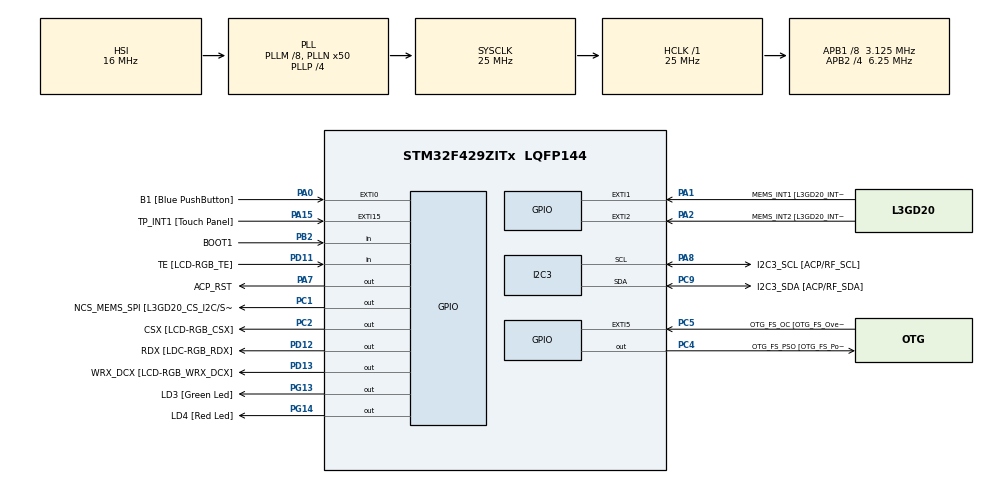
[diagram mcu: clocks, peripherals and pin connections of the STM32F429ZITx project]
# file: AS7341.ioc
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Mcu.Family=STM32F4
Mcu.Name=STM32F429ZITx
Mcu.Package=LQFP144
NVIC.PriorityGroup=NVIC_PRIORITYGROUP_0
PA0/WKUP.GPIO_Label=B1 [Blue PushButton]
PA0/WKUP.GPIO_ModeDefaultEXTI=GPIO_MODE_EVT_RISING
PA0/WKUP.GPIO_PuPd=GPIO_NOPULL
PA0/WKUP.Signal=GPXTI0
PA1.GPIO_Label=MEMS_INT1 [L3GD20_INT1]
PA1.GPIO_ModeDefaultEXTI=GPIO_MODE_EVT_RISING
PA1.GPIO_PuPd=GPIO_NOPULL
PA1.Signal=GPXTI1
PA10.GPIO_Label=STLINK_TX [STM32F103CBT6_PA2]
PA10.Signal=USART1_RX
PA11.GPIO_Label=R4
PA11.GPIO_Mode=GPIO_MODE_AF_PP
PA11.GPIO_PuPd=GPIO_NOPULL
PA11.GPIO_Speed=GPIO_SPEED_FREQ_LOW
PA11.Signal=LTDC_R4
PA12.GPIO_Label=R5
PA12.GPIO_Mode=GPIO_MODE_AF_PP
PA12.GPIO_PuPd=GPIO_NOPULL
PA12.GPIO_Speed=GPIO_SPEED_FREQ_LOW
PA12.Signal=LTDC_R5
PA13.GPIO_Label=SWDIO
PA13.Signal=SYS_JTMS-SWDIO
PA14.GPIO_Label=SWCLK
PA14.Signal=SYS_JTCK-SWCLK
PA15.GPIO_Label=TP_INT1 [Touch Panel]
PA15.GPIO_ModeDefaultEXTI=GPIO_MODE_EVT_RISING
PA15.GPIO_PuPd=GPIO_NOPULL
PA15.Signal=GPXTI15
PA2.GPIO_Label=MEMS_INT2 [L3GD20_INT2]
PA2.GPIO_ModeDefaultEXTI=GPIO_MODE_EVT_RISING
PA2.GPIO_PuPd=GPIO_NOPULL
PA2.Signal=GPXTI2
PA3.GPIO_Label=B5
PA3.GPIO_Mode=GPIO_MODE_AF_PP
PA3.GPIO_PuPd=GPIO_NOPULL
PA3.GPIO_Speed=GPIO_SPEED_FREQ_LOW
PA3.Signal=LTDC_B5
PA4.GPIO_Label=VSYNC
PA4.GPIO_Mode=GPIO_MODE_AF_PP
PA4.GPIO_PuPd=GPIO_NOPULL
PA4.GPIO_Speed=GPIO_SPEED_FREQ_LOW
PA4.Signal=LTDC_VSYNC
PA6.GPIO_Label=G2
PA6.GPIO_Mode=GPIO_MODE_AF_PP
PA6.GPIO_PuPd=GPIO_NOPULL
PA6.GPIO_Speed=GPIO_SPEED_FREQ_LOW
PA6.Signal=LTDC_G2
PA7.GPIO_Label=ACP_RST
PA7.GPIO_Mode=GPIO_MODE_OUTPUT_PP
PA7.GPIO_PuPd=GPIO_NOPULL
PA7.GPIO_Speed=GPIO_SPEED_FREQ_LOW
PA7.Signal=GPIO_Output
PA8.GPIO_Label=I2C3_SCL [ACP/RF_SCL]
PA8.GPIO_Mode=GPIO_MODE_AF_OD
PA8.GPIO_PuPd=GPIO_NOPULL
PA8.GPIO_Speed=GPIO_SPEED_FREQ_LOW
PA8.Mode=I2C
PA8.Signal=I2C3_SCL
PA9.GPIO_Label=STLINK_RX [STM32F103CBT6_PA3]
PA9.Signal=USART1_TX
PB0.GPIO_Label=R3
PB0.GPIO_Mode=GPIO_MODE_AF_PP
PB0.GPIO_PuPd=GPIO_NOPULL
PB0.GPIO_Speed=GPIO_SPEED_FREQ_LOW
PB0.Signal=LTDC_R3
PB1.GPIO_Label=R6
PB1.GPIO_Mode=GPIO_MODE_AF_PP
PB1.GPIO_PuPd=GPIO_NOPULL
PB1.GPIO_Speed=GPIO_SPEED_FREQ_LOW
PB1.Signal=LTDC_R6
PB10.GPIO_Label=G4
PB10.GPIO_Mode=GPIO_MODE_AF_PP
PB10.GPIO_PuPd=GPIO_NOPULL
PB10.GPIO_Speed=GPIO_SPEED_FREQ_LOW
PB10.Signal=LTDC_G4
PB11.GPIO_Label=G5
PB11.GPIO_Mode=GPIO_MODE_AF_PP
PB11.GPIO_PuPd=GPIO_NOPULL
PB11.GPIO_Speed=GPIO_SPEED_FREQ_LOW
PB11.Signal=LTDC_G5
PB12.GPIO_Label=OTG_HS_ID
PB12.GPIO_Mode=GPIO_MODE_AF_PP
PB12.GPIO_PuPd=GPIO_NOPULL
PB12.GPIO_Speed=GPIO_SPEED_FREQ_LOW
PB12.Signal=USB_OTG_HS_ID
PB13.GPIO_Label=VBUS_HS
PB13.GPIO_Mode=GPIO_MODE_INPUT
PB13.GPIO_PuPd=GPIO_NOPULL
PB13.Signal=USB_OTG_HS_VBUS
PB14.GPIO_Label=OTG_HS_DM
PB14.GPIO_Mode=GPIO_MODE_AF_PP
PB14.GPIO_PuPd=GPIO_NOPULL
PB14.GPIO_Speed=GPIO_SPEED_FREQ_LOW
PB14.Signal=USB_OTG_HS_DM
PB15.GPIO_Label=OTG_HS_DP
PB15.GPIO_Mode=GPIO_MODE_AF_PP
PB15.GPIO_PuPd=GPIO_NOPULL
PB15.GPIO_Speed=GPIO_SPEED_FREQ_LOW
PB15.Signal=USB_OTG_HS_DP
PB2/BOOT1.GPIO_Label=BOOT1
PB2/BOOT1.GPIO_Mode=GPIO_MODE_INPUT
PB2/BOOT1.GPIO_PuPd=GPIO_NOPULL
PB2/BOOT1.Signal=GPIO_Input
PB5.GPIO_Label=SDCKE1
PB5.GPIO_Mode=GPIO_MODE_AF_PP
PB5.GPIO_PuPd=GPIO_NOPULL
PB5.GPIO_Speed=GPIO_SPEED_FREQ_VERY_HIGH
PB5.Signal=FMC_SDCKE1
PB6.GPIO_Label=SDNE1 [SDRAM_CS]
PB6.GPIO_Mode=GPIO_MODE_AF_PP
PB6.GPIO_PuPd=GPIO_NOPULL
PB6.GPIO_Speed=GPIO_SPEED_FREQ_VERY_HIGH
PB6.Signal=FMC_SDNE1
PB8.GPIO_Label=B6
PB8.GPIO_Mode=GPIO_MODE_AF_PP
PB8.GPIO_PuPd=GPIO_NOPULL
PB8.GPIO_Speed=GPIO_SPEED_FREQ_LOW
PB8.Signal=LTDC_B6
PB9.GPIO_Label=B7
PB9.GPIO_Mode=GPIO_MODE_AF_PP
PB9.GPIO_PuPd=GPIO_NOPULL
PB9.GPIO_Speed=GPIO_SPEED_FREQ_LOW
PB9.Signal=LTDC_B7
PC0.GPIO_Label=SDNWE
PC0.GPIO_Mode=GPIO_MODE_AF_PP
PC0.GPIO_PuPd=GPIO_NOPULL
PC0.GPIO_Speed=GPIO_SPEED_FREQ_VERY_HIGH
PC0.Signal=FMC_SDNWE
PC1.GPIO_Label=NCS_MEMS_SPI [L3GD20_CS_I2C/SPI]
PC1.GPIO_Mode=GPIO_MODE_OUTPUT_PP
PC1.GPIO_PuPd=GPIO_NOPULL
PC1.GPIO_Speed=GPIO_SPEED_FREQ_LOW
PC1.Signal=GPIO_Output
PC10.GPIO_Label=R2
PC10.GPIO_Mode=GPIO_MODE_AF_PP
PC10.GPIO_PuPd=GPIO_NOPULL
PC10.GPIO_Speed=GPIO_SPEED_FREQ_LOW
PC10.Signal=LTDC_R2
PC14/OSC32_IN.GPIO_Label=PC14-OSC32_IN
PC14/OSC32_IN.Signal=RCC_OSC32_IN
PC15/OSC32_OUT.GPIO_Label=PC15-OSC32_OUT
PC15/OSC32_OUT.Signal=RCC_OSC32_OUT
PC2.GPIO_Label=CSX [LCD-RGB_CSX]
PC2.GPIO_Mode=GPIO_MODE_OUTPUT_PP
PC2.GPIO_PuPd=GPIO_NOPULL
PC2.GPIO_Speed=GPIO_SPEED_FREQ_LOW
PC2.Signal=GPIO_Output
PC4.GPIO_Label=OTG_FS_PSO [OTG_FS_PowerSwitchOn]
PC4.GPIO_Mode=GPIO_MODE_OUTPUT_PP
PC4.GPIO_PuPd=GPIO_NOPULL
PC4.GPIO_Speed=GPIO_SPEED_FREQ_LOW
PC4.Signal=GPIO_Output
PC5.GPIO_Label=OTG_FS_OC [OTG_FS_OverCurrent]
PC5.GPIO_ModeDefaultEXTI=GPIO_MODE_EVT_RISING
PC5.Signal=GPXTI5
PC6.GPIO_Label=HSYNC
PC6.GPIO_Mode=GPIO_MODE_AF_PP
PC6.GPIO_PuPd=GPIO_NOPULL
PC6.GPIO_Speed=GPIO_SPEED_FREQ_LOW
PC6.Signal=LTDC_HSYNC
PC7.GPIO_Label=G6
PC7.GPIO_Mode=GPIO_MODE_AF_PP
PC7.GPIO_PuPd=GPIO_NOPULL
PC7.GPIO_Speed=GPIO_SPEED_FREQ_LOW
PC7.Signal=LTDC_G6
PC9.GPIO_Label=I2C3_SDA [ACP/RF_SDA]
PC9.GPIO_Mode=GPIO_MODE_AF_OD
PC9.GPIO_PuPd=GPIO_NOPULL
PC9.GPIO_Speed=GPIO_SPEED_FREQ_LOW
PC9.Mode=I2C
PC9.Signal=I2C3_SDA
PD0.GPIO_Label=D2
PD0.GPIO_Mode=GPIO_MODE_AF_PP
PD0.GPIO_PuPd=GPIO_NOPULL
PD0.GPIO_Speed=GPIO_SPEED_FREQ_VERY_HIGH
PD0.Signal=FMC_D2_DA2
PD1.GPIO_Label=D3
PD1.GPIO_Mode=GPIO_MODE_AF_PP
PD1.GPIO_PuPd=GPIO_NOPULL
PD1.GPIO_Speed=GPIO_SPEED_FREQ_VERY_HIGH
PD1.Signal=FMC_D3_DA3
PD10.GPIO_Label=D15
PD10.GPIO_Mode=GPIO_MODE_AF_PP
PD10.GPIO_PuPd=GPIO_NOPULL
PD10.GPIO_Speed=GPIO_SPEED_FREQ_VERY_HIGH
PD10.Signal=FMC_D15_DA15
PD11.GPIO_Label=TE [LCD-RGB_TE]
PD11.GPIO_Mode=GPIO_MODE_INPUT
PD11.GPIO_PuPd=GPIO_NOPULL
PD11.Signal=GPIO_Input
PD12.GPIO_Label=RDX [LDC-RGB_RDX]
PD12.GPIO_Mode=GPIO_MODE_OUTPUT_PP
PD12.GPIO_PuPd=GPIO_NOPULL
PD12.GPIO_Speed=GPIO_SPEED_FREQ_LOW
PD12.Signal=GPIO_Output
PD13.GPIO_Label=WRX_DCX [LCD-RGB_WRX_DCX]
PD13.GPIO_Mode=GPIO_MODE_OUTPUT_PP
PD13.GPIO_PuPd=GPIO_NOPULL
PD13.GPIO_Speed=GPIO_SPEED_FREQ_LOW
PD13.Signal=GPIO_Output
PD14.GPIO_Label=D0
PD14.GPIO_Mode=GPIO_MODE_AF_PP
PD14.GPIO_PuPd=GPIO_NOPULL
PD14.GPIO_Speed=GPIO_SPEED_FREQ_VERY_HIGH
PD14.Signal=FMC_D0_DA0
PD15.GPIO_Label=D1
PD15.GPIO_Mode=GPIO_MODE_AF_PP
PD15.GPIO_PuPd=GPIO_NOPULL
PD15.GPIO_Speed=GPIO_SPEED_FREQ_VERY_HIGH
PD15.Signal=FMC_D1_DA1
PD3.GPIO_Label=G7
PD3.GPIO_Mode=GPIO_MODE_AF_PP
PD3.GPIO_PuPd=GPIO_NOPULL
PD3.GPIO_Speed=GPIO_SPEED_FREQ_LOW
PD3.Signal=LTDC_G7
PD6.GPIO_Label=B2
PD6.GPIO_Mode=GPIO_MODE_AF_PP
PD6.GPIO_PuPd=GPIO_NOPULL
PD6.GPIO_Speed=GPIO_SPEED_FREQ_LOW
PD6.Signal=LTDC_B2
PD8.GPIO_Label=D13
PD8.GPIO_Mode=GPIO_MODE_AF_PP
PD8.GPIO_PuPd=GPIO_NOPULL
PD8.GPIO_Speed=GPIO_SPEED_FREQ_VERY_HIGH
PD8.Signal=FMC_D13_DA13
PD9.GPIO_Label=D14
PD9.GPIO_Mode=GPIO_MODE_AF_PP
PD9.GPIO_PuPd=GPIO_NOPULL
PD9.GPIO_Speed=GPIO_SPEED_FREQ_VERY_HIGH
PD9.Signal=FMC_D14_DA14
PE0.GPIO_Label=NBL0 [SDRAM_LDQM]
PE0.GPIO_Mode=GPIO_MODE_AF_PP
PE0.GPIO_PuPd=GPIO_NOPULL
PE0.GPIO_Speed=GPIO_SPEED_FREQ_VERY_HIGH
PE0.Signal=FMC_NBL0
PE1.GPIO_Label=NBL1 [SDRAM_UDQM]
PE1.GPIO_Mode=GPIO_MODE_AF_PP
PE1.GPIO_PuPd=GPIO_NOPULL
PE1.GPIO_Speed=GPIO_SPEED_FREQ_VERY_HIGH
PE1.Signal=FMC_NBL1
PE10.GPIO_Label=D7
PE10.GPIO_Mode=GPIO_MODE_AF_PP
PE10.GPIO_PuPd=GPIO_NOPULL
PE10.GPIO_Speed=GPIO_SPEED_FREQ_VERY_HIGH
PE10.Signal=FMC_D7_DA7
PE11.GPIO_Label=D8
PE11.GPIO_Mode=GPIO_MODE_AF_PP
PE11.GPIO_PuPd=GPIO_NOPULL
PE11.GPIO_Speed=GPIO_SPEED_FREQ_VERY_HIGH
PE11.Signal=FMC_D8_DA8
PE12.GPIO_Label=D9
PE12.GPIO_Mode=GPIO_MODE_AF_PP
PE12.GPIO_PuPd=GPIO_NOPULL
PE12.GPIO_Speed=GPIO_SPEED_FREQ_VERY_HIGH
PE12.Signal=FMC_D9_DA9
PE13.GPIO_Label=D10
PE13.GPIO_Mode=GPIO_MODE_AF_PP
PE13.GPIO_PuPd=GPIO_NOPULL
PE13.GPIO_Speed=GPIO_SPEED_FREQ_VERY_HIGH
PE13.Signal=FMC_D10_DA10
PE14.GPIO_Label=D11
PE14.GPIO_Mode=GPIO_MODE_AF_PP
PE14.GPIO_PuPd=GPIO_NOPULL
PE14.GPIO_Speed=GPIO_SPEED_FREQ_VERY_HIGH
PE14.Signal=FMC_D11_DA11
PE15.GPIO_Label=D12
PE15.GPIO_Mode=GPIO_MODE_AF_PP
PE15.GPIO_PuPd=GPIO_NOPULL
PE15.GPIO_Speed=GPIO_SPEED_FREQ_VERY_HIGH
PE15.Signal=FMC_D12_DA12
PE7.GPIO_Label=D4
PE7.GPIO_Mode=GPIO_MODE_AF_PP
PE7.GPIO_PuPd=GPIO_NOPULL
PE7.GPIO_Speed=GPIO_SPEED_FREQ_VERY_HIGH
PE7.Signal=FMC_D4_DA4
PE8.GPIO_Label=D5
PE8.GPIO_Mode=GPIO_MODE_AF_PP
PE8.GPIO_PuPd=GPIO_NOPULL
PE8.GPIO_Speed=GPIO_SPEED_FREQ_VERY_HIGH
PE8.Signal=FMC_D5_DA5
PE9.GPIO_Label=D6
PE9.GPIO_Mode=GPIO_MODE_AF_PP
PE9.GPIO_PuPd=GPIO_NOPULL
PE9.GPIO_Speed=GPIO_SPEED_FREQ_VERY_HIGH
PE9.Signal=FMC_D6_DA6
PF0.GPIO_Label=A0
PF0.GPIO_Mode=GPIO_MODE_AF_PP
PF0.GPIO_PuPd=GPIO_NOPULL
PF0.GPIO_Speed=GPIO_SPEED_FREQ_VERY_HIGH
PF0.Signal=FMC_A0
PF1.GPIO_Label=A1
PF1.GPIO_Mode=GPIO_MODE_AF_PP
PF1.GPIO_PuPd=GPIO_NOPULL
PF1.GPIO_Speed=GPIO_SPEED_FREQ_VERY_HIGH
PF1.Signal=FMC_A1
PF10.GPIO_Label=ENABLE [LCD-RGB_ENABLE]
PF10.GPIO_Mode=GPIO_MODE_AF_PP
PF10.GPIO_PuPd=GPIO_NOPULL
PF10.GPIO_Speed=GPIO_SPEED_FREQ_LOW
PF10.Signal=LTDC_DE
PF11.GPIO_Label=SDNRAS
PF11.GPIO_Mode=GPIO_MODE_AF_PP
PF11.GPIO_PuPd=GPIO_NOPULL
PF11.GPIO_Speed=GPIO_SPEED_FREQ_VERY_HIGH
PF11.Signal=FMC_SDNRAS
PF12.GPIO_Label=A6
PF12.GPIO_Mode=GPIO_MODE_AF_PP
PF12.GPIO_PuPd=GPIO_NOPULL
PF12.GPIO_Speed=GPIO_SPEED_FREQ_VERY_HIGH
PF12.Signal=FMC_A6
PF13.GPIO_Label=A7
PF13.GPIO_Mode=GPIO_MODE_AF_PP
PF13.GPIO_PuPd=GPIO_NOPULL
PF13.GPIO_Speed=GPIO_SPEED_FREQ_VERY_HIGH
PF13.Signal=FMC_A7
PF14.GPIO_Label=A8
PF14.GPIO_Mode=GPIO_MODE_AF_PP
PF14.GPIO_PuPd=GPIO_NOPULL
PF14.GPIO_Speed=GPIO_SPEED_FREQ_VERY_HIGH
PF14.Signal=FMC_A8
PF15.GPIO_Label=A9
PF15.GPIO_Mode=GPIO_MODE_AF_PP
PF15.GPIO_PuPd=GPIO_NOPULL
PF15.GPIO_Speed=GPIO_SPEED_FREQ_VERY_HIGH
PF15.Signal=FMC_A9
PF2.GPIO_Label=A2
PF2.GPIO_Mode=GPIO_MODE_AF_PP
PF2.GPIO_PuPd=GPIO_NOPULL
PF2.GPIO_Speed=GPIO_SPEED_FREQ_VERY_HIGH
PF2.Signal=FMC_A2
PF3.GPIO_Label=A3
PF3.GPIO_Mode=GPIO_MODE_AF_PP
PF3.GPIO_PuPd=GPIO_NOPULL
PF3.GPIO_Speed=GPIO_SPEED_FREQ_VERY_HIGH
PF3.Signal=FMC_A3
PF4.GPIO_Label=A4
PF4.GPIO_Mode=GPIO_MODE_AF_PP
PF4.GPIO_PuPd=GPIO_NOPULL
PF4.GPIO_Speed=GPIO_SPEED_FREQ_VERY_HIGH
PF4.Signal=FMC_A4
PF5.GPIO_Label=A5
PF5.GPIO_Mode=GPIO_MODE_AF_PP
PF5.GPIO_PuPd=GPIO_NOPULL
PF5.GPIO_Speed=GPIO_SPEED_FREQ_VERY_HIGH
PF5.Signal=FMC_A5
PF7.GPIO_Label=SPI5_SCK [L3GD20_SCL/SPC]
PF7.GPIO_Mode=GPIO_MODE_AF_PP
PF7.GPIO_PuPd=GPIO_NOPULL
PF7.GPIO_Speed=GPIO_SPEED_FREQ_LOW
PF7.Signal=SPI5_SCK
PF8.GPIO_Label=SPI5_MISO [L3GD20_SDO]
PF8.GPIO_Mode=GPIO_MODE_AF_PP
PF8.GPIO_PuPd=GPIO_NOPULL
PF8.GPIO_Speed=GPIO_SPEED_FREQ_LOW
PF8.Signal=SPI5_MISO
PF9.GPIO_Label=SPI5_MOSI [L3GD20_SDA/SDI/SDO]
PF9.GPIO_Mode=GPIO_MODE_AF_PP
PF9.GPIO_PuPd=GPIO_NOPULL
PF9.GPIO_Speed=GPIO_SPEED_FREQ_LOW
PF9.Signal=SPI5_MOSI
PG0.GPIO_Label=A10
PG0.GPIO_Mode=GPIO_MODE_AF_PP
PG0.GPIO_PuPd=GPIO_NOPULL
PG0.GPIO_Speed=GPIO_SPEED_FREQ_VERY_HIGH
PG0.Signal=FMC_A10
PG1.GPIO_Label=A11
PG1.GPIO_Mode=GPIO_MODE_AF_PP
PG1.GPIO_PuPd=GPIO_NOPULL
PG1.GPIO_Speed=GPIO_SPEED_FREQ_VERY_HIGH
PG1.Signal=FMC_A11
PG10.GPIO_Label=G3
PG10.GPIO_Mode=GPIO_MODE_AF_PP
PG10.GPIO_PuPd=GPIO_NOPULL
PG10.GPIO_Speed=GPIO_SPEED_FREQ_LOW
PG10.Signal=LTDC_G3
PG11.GPIO_Label=B3
PG11.GPIO_Mode=GPIO_MODE_AF_PP
PG11.GPIO_PuPd=GPIO_NOPULL
PG11.GPIO_Speed=GPIO_SPEED_FREQ_LOW
PG11.Signal=LTDC_B3
PG12.GPIO_Label=B4
PG12.GPIO_Mode=GPIO_MODE_AF_PP
PG12.GPIO_PuPd=GPIO_NOPULL
PG12.GPIO_Speed=GPIO_SPEED_FREQ_LOW
PG12.Signal=LTDC_B4
PG13.GPIO_Label=LD3 [Green Led]
PG13.GPIO_Mode=GPIO_MODE_OUTPUT_PP
PG13.GPIO_PuPd=GPIO_NOPULL
PG13.GPIO_Speed=GPIO_SPEED_FREQ_LOW
PG13.Signal=GPIO_Output
PG14.GPIO_Label=LD4 [Red Led]
PG14.GPIO_Mode=GPIO_MODE_OUTPUT_PP
PG14.GPIO_PuPd=GPIO_NOPULL
PG14.GPIO_Speed=GPIO_SPEED_FREQ_LOW
PG14.Signal=GPIO_Output
PG15.GPIO_Label=SDNCAS
PG15.GPIO_Mode=GPIO_MODE_AF_PP
PG15.GPIO_PuPd=GPIO_NOPULL
PG15.GPIO_Speed=GPIO_SPEED_FREQ_VERY_HIGH
PG15.Signal=FMC_SDNCAS
PG4.GPIO_Label=BA0
PG4.GPIO_Mode=GPIO_MODE_AF_PP
PG4.GPIO_PuPd=GPIO_NOPULL
PG4.GPIO_Speed=GPIO_SPEED_FREQ_VERY_HIGH
PG4.Signal=FMC_A14_BA0
PG5.GPIO_Label=BA1
PG5.GPIO_Mode=GPIO_MODE_AF_PP
PG5.GPIO_PuPd=GPIO_NOPULL
PG5.GPIO_Speed=GPIO_SPEED_FREQ_VERY_HIGH
PG5.Signal=FMC_A15_BA1
PG6.GPIO_Label=R7
PG6.GPIO_Mode=GPIO_MODE_AF_PP
PG6.GPIO_PuPd=GPIO_NOPULL
PG6.GPIO_Speed=GPIO_SPEED_FREQ_LOW
PG6.Signal=LTDC_R7
PG7.GPIO_Label=DOTCLK [LCT-RGB_DOTCLK]
PG7.GPIO_Mode=GPIO_MODE_AF_PP
PG7.GPIO_PuPd=GPIO_NOPULL
PG7.GPIO_Speed=GPIO_SPEED_FREQ_LOW
PG7.Signal=LTDC_CLK
PG8.GPIO_Label=SDCLK
PG8.GPIO_Mode=GPIO_MODE_AF_PP
PG8.GPIO_PuPd=GPIO_NOPULL
PG8.GPIO_Speed=GPIO_SPEED_FREQ_VERY_HIGH
PG8.Signal=FMC_SDCLK
PH0/OSC_IN.GPIO_Label=PH0-OSC_IN
PH0/OSC_IN.Signal=RCC_OSC_IN
PH1/OSC_OUT.GPIO_Label=PH1-OSC_OUT
PH1/OSC_OUT.Signal=RCC_OSC_OUT
ProjectManager.HeapSize=0x200
ProjectManager.StackSize=0x400
ProjectManager.TargetToolchain=STM32CubeIDE
RCC.48MHZClocksFreq_Value=14285714.285714285
RCC.AHBFreq_Value=25000000
RCC.APB1CLKDivider=RCC_HCLK_DIV8
RCC.APB1Freq_Value=3125000
RCC.APB1TimFreq_Value=6250000
RCC.APB2CLKDivider=RCC_HCLK_DIV4
RCC.APB2Freq_Value=6250000
RCC.APB2TimFreq_Value=12500000
RCC.CortexFreq_Value=25000000
RCC.HCLKFreq_Value=25000000
RCC.HSE_VALUE=8000000
RCC.HSI_VALUE=16000000
RCC.LSE_VALUE=32768
RCC.PLLM=8
RCC.PLLN=50
RCC.PLLP=RCC_PLLP_DIV4
RCC.PLLQ=7
RCC.SYSCLKFreq_VALUE=25000000
RCC.SYSCLKSource=RCC_SYSCLKSOURCE_PLLCLK
RCC.VCOOutputFreq_Value=100000000
SH.FMC_A0.0=FMC_A0
SH.FMC_A1.0=FMC_A1
SH.FMC_A10.0=FMC_A10
SH.FMC_A11.0=FMC_A11
SH.FMC_A14_BA0.0=FMC_BA0
SH.FMC_A15_BA1.0=FMC_BA1
SH.FMC_A2.0=FMC_A2
SH.FMC_A3.0=FMC_A3
SH.FMC_A4.0=FMC_A4
SH.FMC_A5.0=FMC_A5
SH.FMC_A6.0=FMC_A6
SH.FMC_A7.0=FMC_A7
SH.FMC_A8.0=FMC_A8
SH.FMC_A9.0=FMC_A9
SH.FMC_D0_DA0.0=FMC_D0
SH.FMC_D10_DA10.0=FMC_D10
SH.FMC_D11_DA11.0=FMC_D11
SH.FMC_D12_DA12.0=FMC_D12
SH.FMC_D13_DA13.0=FMC_D13
SH.FMC_D14_DA14.0=FMC_D14
SH.FMC_D15_DA15.0=FMC_D15
SH.FMC_D1_DA1.0=FMC_D1
SH.FMC_D2_DA2.0=FMC_D2
SH.FMC_D3_DA3.0=FMC_D3
SH.FMC_D4_DA4.0=FMC_D4
SH.FMC_D5_DA5.0=FMC_D5
SH.FMC_D6_DA6.0=FMC_D6
SH.FMC_D7_DA7.0=FMC_D7
SH.FMC_D8_DA8.0=FMC_D8
SH.FMC_D9_DA9.0=FMC_D9
SH.FMC_NBL0.0=FMC_NBL0
SH.FMC_NBL1.0=FMC_NBL1
SH.FMC_SDCLK.0=FMC_SDCLK
SH.FMC_SDNCAS.0=FMC_SDNCAS
SH.FMC_SDNRAS.0=FMC_SDNRAS
SH.FMC_SDNWE.0=FMC_SDNWE
board=STM32F429I-DISC1

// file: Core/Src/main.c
/* USER CODE BEGIN Header */
/**
  ******************************************************************************
  * @file           : main.c
  * @brief          : Main program body
  ******************************************************************************
  * @attention
  *
  * Copyright (c) 2025 STMicroelectronics.
  * All rights reserved.
  *
  * This software is licensed under terms that can be found in the LICENSE file
  * in the root directory of this software component.
  * If no LICENSE file comes with this software, it is provided AS-IS.
  *
  ******************************************************************************
  */
/* USER CODE END Header */
#include "main.h"

/* USER CODE BEGIN Includes */
#define AS7341 (0X39 << 1)
/* USER CODE END Includes */
#define EN_REG 0x80
#define CONFIG_REG 0X70
#define GPIO_Register 0x73
#define GPIO_2_Register 0xBE
#define LED_Register 0x74
#define INTENAB_Register 0xF9
#define CONTROL_Register 0xFA

#define ATIME_Register 0x81
#define ASTEP_L_Register 0xCA
#define ASTEP_H_Register 0xCB         //(Address 0xCA, 0xCB)
#define WTIME_Register 0x83

#define CFG1_Register 0xAA

I2C_HandleTypeDef hi2c3;

void SystemClock_Config(void);
static void MX_GPIO_Init(void);
static void MX_I2C3_Init(void);

/* USER CODE BEGIN 0 */
void WAKE_UP_AS7341(void){
	uint8_t en_data = 0x11;
	HAL_I2C_Mem_Write(&hi2c3, AS7341, EN_REG, 1, &en_data, 1, 100);
}

void CONFIG_REG_AS7341(void){
	uint8_t config_data = 0x0C; //check int mode
	HAL_I2C_Mem_Write(&hi2c3, AS7341, CONFIG_REG, 1, &config_data, 1, 100);
}

void GPIO_Register_AS7341(void){
	uint8_t GPIO_Register_data = 0x00;
	HAL_I2C_Mem_Write(&hi2c3, AS7341, GPIO_Register, 1, &GPIO_Register_data, 1, 100);
}

void GPIO_2_Register_AS7341(void){
	uint8_t GPIO_2_Register_data = 0x02;
	HAL_I2C_Mem_Write(&hi2c3, AS7341, GPIO_2_Register, 1, &GPIO_2_Register_data, 1, 100);
}

void LED_Register_AS7341(void){
	uint8_t LED_Register_data = 0x84; // in this 7th bit is to turn on or off led and 6-0 are for led brightness
	HAL_I2C_Mem_Write(&hi2c3, AS7341, LED_Register, 1, &LED_Register_data, 1, 100);
}

void INTENAB_Register_AS7341(void){
	uint8_t INTENAB_Register_data = 0x00;
	HAL_I2C_Mem_Write(&hi2c3, AS7341, INTENAB_Register, 1, &INTENAB_Register_data, 1, 100);
}

void CONTROL_Register_AS7341(void){
	uint8_t CONTROL_Register_data = 0x00; //check it once
	HAL_I2C_Mem_Write(&hi2c3, AS7341, CONTROL_Register, 1, &CONTROL_Register_data, 1, 100);
}

//10.2.2 ADC Timing Configuration / Integration Time

void ATIME_Register_AS7341(void){
	uint8_t ATIME_Register_data = 0x29; // check it 0% trusted
	HAL_I2C_Mem_Write(&hi2c3, AS7341, ATIME_Register, 1, &ATIME_Register_data, 1, 100);
}

void ASTEP_Register_AS7341(void){
	uint8_t ASTEP_L_Register_data = 0x57; // this sets ASTEP to 599 (1.67ms)
	uint8_t ASTEP_H_Register_data = 0x02;
	HAL_I2C_Mem_Write(&hi2c3, AS7341, ASTEP_Register, 1, &ASTEP_L_Register_data, 1, 100);
	HAL_I2C_Mem_Write(&hi2c3, AS7341, ASTEP_Register, 1, &ASTEP_H_Register_data, 1, 100);
}

void WTIME_Register_AS7341(void){
	uint8_t WTIME_Register_data = 0x00;
	HAL_I2C_Mem_Write(&hi2c3, AS7341, WTIME_Register, 1, &WTIME_Register_data, 1, 100);
}

// 10.2.3 ADC Configuration (gain, AGC…)

void CFG1_Register_AS7341(void){
	uint8_t WTIME_Register_data = 0x00;
	HAL_I2C_Mem_Write(&hi2c3, AS7341, WTIME_Register, 1, &WTIME_Register_data, 1, 100);
}

/* USER CODE END 0 */

int main(void)
{

  /* MCU Configuration--------------------------------------------------------*/

  /* Reset of all peripherals, Initializes the Flash interface and the Systick. */
  HAL_Init();

  /* Configure the system clock */
  SystemClock_Config();

  /* Initialize all configured peripherals */
  MX_GPIO_Init();
  MX_I2C3_Init();
  /* USER CODE BEGIN 2 */
  WAKE_UP_AS7341();
  /* USER CODE END 2 */

  /* Infinite loop */
  while (1)
  {

  }
}

void SystemClock_Config(void)
{
  RCC_OscInitTypeDef RCC_OscInitStruct = {0};
  RCC_ClkInitTypeDef RCC_ClkInitStruct = {0};

  /** Configure the main internal regulator output voltage
  */
  __HAL_RCC_PWR_CLK_ENABLE();
  __HAL_PWR_VOLTAGESCALING_CONFIG(PWR_REGULATOR_VOLTAGE_SCALE3);

  /** Initializes the RCC Oscillators according to the specified parameters
  * in the RCC_OscInitTypeDef structure.
  */
  RCC_OscInitStruct.OscillatorType = RCC_OSCILLATORTYPE_HSI;
  RCC_OscInitStruct.HSIState = RCC_HSI_ON;
  RCC_OscInitStruct.HSICalibrationValue = RCC_HSICALIBRATION_DEFAULT;
  RCC_OscInitStruct.PLL.PLLState = RCC_PLL_ON;
  RCC_OscInitStruct.PLL.PLLSource = RCC_PLLSOURCE_HSI;
  RCC_OscInitStruct.PLL.PLLM = 8;
  RCC_OscInitStruct.PLL.PLLN = 50;
  RCC_OscInitStruct.PLL.PLLP = RCC_PLLP_DIV4;
  RCC_OscInitStruct.PLL.PLLQ = 7;
  if (HAL_RCC_OscConfig(&RCC_OscInitStruct) != HAL_OK)
  {
    Error_Handler();
  }

  /** Initializes the CPU, AHB and APB buses clocks
  */
  RCC_ClkInitStruct.ClockType = RCC_CLOCKTYPE_HCLK|RCC_CLOCKTYPE_SYSCLK
                              |RCC_CLOCKTYPE_PCLK1|RCC_CLOCKTYPE_PCLK2;
  RCC_ClkInitStruct.SYSCLKSource = RCC_SYSCLKSOURCE_PLLCLK;
  RCC_ClkInitStruct.AHBCLKDivider = RCC_SYSCLK_DIV1;
  RCC_ClkInitStruct.APB1CLKDivider = RCC_HCLK_DIV8;
  RCC_ClkInitStruct.APB2CLKDivider = RCC_HCLK_DIV4;

  if (HAL_RCC_ClockConfig(&RCC_ClkInitStruct, FLASH_LATENCY_0) != HAL_OK)
  {
    Error_Handler();
  }
}

static void MX_I2C3_Init(void)
{

  hi2c3.Instance = I2C3;
  hi2c3.Init.ClockSpeed = 100000;
  hi2c3.Init.DutyCycle = I2C_DUTYCYCLE_2;
  hi2c3.Init.OwnAddress1 = 0;
  hi2c3.Init.AddressingMode = I2C_ADDRESSINGMODE_7BIT;
  hi2c3.Init.DualAddressMode = I2C_DUALADDRESS_DISABLE;
  hi2c3.Init.OwnAddress2 = 0;
  hi2c3.Init.GeneralCallMode = I2C_GENERALCALL_DISABLE;
  hi2c3.Init.NoStretchMode = I2C_NOSTRETCH_DISABLE;
  if (HAL_I2C_Init(&hi2c3) != HAL_OK)
  {
    Error_Handler();
  }

  /** Configure Analogue filter
  */
  if (HAL_I2CEx_ConfigAnalogFilter(&hi2c3, I2C_ANALOGFILTER_ENABLE) != HAL_OK)
  {
    Error_Handler();
  }

  /** Configure Digital filter
  */
  if (HAL_I2CEx_ConfigDigitalFilter(&hi2c3, 0) != HAL_OK)
  {
    Error_Handler();
  }

}

static void MX_GPIO_Init(void)
{
  GPIO_InitTypeDef GPIO_InitStruct = {0};

  /* GPIO Ports Clock Enable */
  __HAL_RCC_GPIOC_CLK_ENABLE();
  __HAL_RCC_GPIOF_CLK_ENABLE();
  __HAL_RCC_GPIOH_CLK_ENABLE();
  __HAL_RCC_GPIOA_CLK_ENABLE();
  __HAL_RCC_GPIOB_CLK_ENABLE();
  __HAL_RCC_GPIOG_CLK_ENABLE();
  __HAL_RCC_GPIOE_CLK_ENABLE();
  __HAL_RCC_GPIOD_CLK_ENABLE();

  /*Configure GPIO pin Output Level */
  HAL_GPIO_WritePin(GPIOC, NCS_MEMS_SPI_Pin|CSX_Pin|OTG_FS_PSO_Pin, GPIO_PIN_RESET);

  /*Configure GPIO pin Output Level */
  HAL_GPIO_WritePin(ACP_RST_GPIO_Port, ACP_RST_Pin, GPIO_PIN_RESET);

  /*Configure GPIO pin Output Level */
  HAL_GPIO_WritePin(GPIOD, RDX_Pin|WRX_DCX_Pin, GPIO_PIN_RESET);

  /*Configure GPIO pin Output Level */
  HAL_GPIO_WritePin(GPIOG, LD3_Pin|LD4_Pin, GPIO_PIN_RESET);

  /*Configure GPIO pins : A0_Pin A1_Pin A2_Pin A3_Pin
                           A4_Pin A5_Pin SDNRAS_Pin A6_Pin
                           A7_Pin A8_Pin A9_Pin */
  GPIO_InitStruct.Pin = A0_Pin|A1_Pin|A2_Pin|A3_Pin
                          |A4_Pin|A5_Pin|SDNRAS_Pin|A6_Pin
                          |A7_Pin|A8_Pin|A9_Pin;
  GPIO_InitStruct.Mode = GPIO_MODE_AF_PP;
  GPIO_InitStruct.Pull = GPIO_NOPULL;
  GPIO_InitStruct.Speed = GPIO_SPEED_FREQ_VERY_HIGH;
  GPIO_InitStruct.Alternate = GPIO_AF12_FMC;
  HAL_GPIO_Init(GPIOF, &GPIO_InitStruct);

  /*Configure GPIO pins : SPI5_SCK_Pin SPI5_MISO_Pin SPI5_MOSI_Pin */
  GPIO_InitStruct.Pin = SPI5_SCK_Pin|SPI5_MISO_Pin|SPI5_MOSI_Pin;
  GPIO_InitStruct.Mode = GPIO_MODE_AF_PP;
  GPIO_InitStruct.Pull = GPIO_NOPULL;
  GPIO_InitStruct.Speed = GPIO_SPEED_FREQ_LOW;
  GPIO_InitStruct.Alternate = GPIO_AF5_SPI5;
  HAL_GPIO_Init(GPIOF, &GPIO_InitStruct);

  /*Configure GPIO pin : ENABLE_Pin */
  GPIO_InitStruct.Pin = ENABLE_Pin;
  GPIO_InitStruct.Mode = GPIO_MODE_AF_PP;
  GPIO_InitStruct.Pull = GPIO_NOPULL;
  GPIO_InitStruct.Speed = GPIO_SPEED_FREQ_LOW;
  GPIO_InitStruct.Alternate = GPIO_AF14_LTDC;
  HAL_GPIO_Init(ENABLE_GPIO_Port, &GPIO_InitStruct);

  /*Configure GPIO pin : SDNWE_Pin */
  GPIO_InitStruct.Pin = SDNWE_Pin;
  GPIO_InitStruct.Mode = GPIO_MODE_AF_PP;
  GPIO_InitStruct.Pull = GPIO_NOPULL;
  GPIO_InitStruct.Speed = GPIO_SPEED_FREQ_VERY_HIGH;
  GPIO_InitStruct.Alternate = GPIO_AF12_FMC;
  HAL_GPIO_Init(SDNWE_GPIO_Port, &GPIO_InitStruct);

  /*Configure GPIO pins : NCS_MEMS_SPI_Pin CSX_Pin OTG_FS_PSO_Pin */
  GPIO_InitStruct.Pin = NCS_MEMS_SPI_Pin|CSX_Pin|OTG_FS_PSO_Pin;
  GPIO_InitStruct.Mode = GPIO_MODE_OUTPUT_PP;
  GPIO_InitStruct.Pull = GPIO_NOPULL;
  GPIO_InitStruct.Speed = GPIO_SPEED_FREQ_LOW;
  HAL_GPIO_Init(GPIOC, &GPIO_InitStruct);

  /*Configure GPIO pins : B1_Pin MEMS_INT1_Pin MEMS_INT2_Pin TP_INT1_Pin */
  GPIO_InitStruct.Pin = B1_Pin|MEMS_INT1_Pin|MEMS_INT2_Pin|TP_INT1_Pin;
  GPIO_InitStruct.Mode = GPIO_MODE_EVT_RISING;
  GPIO_InitStruct.Pull = GPIO_NOPULL;
  HAL_GPIO_Init(GPIOA, &GPIO_InitStruct);

  /*Configure GPIO pins : B5_Pin VSYNC_Pin G2_Pin R4_Pin
                           R5_Pin */
  GPIO_InitStruct.Pin = B5_Pin|VSYNC_Pin|G2_Pin|R4_Pin
                          |R5_Pin;
  GPIO_InitStruct.Mode = GPIO_MODE_AF_PP;
  GPIO_InitStruct.Pull = GPIO_NOPULL;
  GPIO_InitStruct.Speed = GPIO_SPEED_FREQ_LOW;
  GPIO_InitStruct.Alternate = GPIO_AF14_LTDC;
  HAL_GPIO_Init(GPIOA, &GPIO_InitStruct);

  /*Configure GPIO pin : ACP_RST_Pin */
  GPIO_InitStruct.Pin = ACP_RST_Pin;
  GPIO_InitStruct.Mode = GPIO_MODE_OUTPUT_PP;
  GPIO_InitStruct.Pull = GPIO_NOPULL;
  GPIO_InitStruct.Speed = GPIO_SPEED_FREQ_LOW;
  HAL_GPIO_Init(ACP_RST_GPIO_Port, &GPIO_InitStruct);

  /*Configure GPIO pin : OTG_FS_OC_Pin */
  GPIO_InitStruct.Pin = OTG_FS_OC_Pin;
  GPIO_InitStruct.Mode = GPIO_MODE_EVT_RISING;
  GPIO_InitStruct.Pull = GPIO_NOPULL;
  HAL_GPIO_Init(OTG_FS_OC_GPIO_Port, &GPIO_InitStruct);

  /*Configure GPIO pins : R3_Pin R6_Pin */
  GPIO_InitStruct.Pin = R3_Pin|R6_Pin;
  GPIO_InitStruct.Mode = GPIO_MODE_AF_PP;
  GPIO_InitStruct.Pull = GPIO_NOPULL;
  GPIO_InitStruct.Speed = GPIO_SPEED_FREQ_LOW;
  GPIO_InitStruct.Alternate = GPIO_AF9_LTDC;
  HAL_GPIO_Init(GPIOB, &GPIO_InitStruct);

  /*Configure GPIO pin : BOOT1_Pin */
  GPIO_InitStruct.Pin = BOOT1_Pin;
  GPIO_InitStruct.Mode = GPIO_MODE_INPUT;
  GPIO_InitStruct.Pull = GPIO_NOPULL;
  HAL_GPIO_Init(BOOT1_GPIO_Port, &GPIO_InitStruct);

  /*Configure GPIO pins : A10_Pin A11_Pin BA0_Pin BA1_Pin
                           SDCLK_Pin SDNCAS_Pin */
  GPIO_InitStruct.Pin = A10_Pin|A11_Pin|BA0_Pin|BA1_Pin
                          |SDCLK_Pin|SDNCAS_Pin;
  GPIO_InitStruct.Mode = GPIO_MODE_AF_PP;
  GPIO_InitStruct.Pull = GPIO_NOPULL;
  GPIO_InitStruct.Speed = GPIO_SPEED_FREQ_VERY_HIGH;
  GPIO_InitStruct.Alternate = GPIO_AF12_FMC;
  HAL_GPIO_Init(GPIOG, &GPIO_InitStruct);

  /*Configure GPIO pins : D4_Pin D5_Pin D6_Pin D7_Pin
                           D8_Pin D9_Pin D10_Pin D11_Pin
                           D12_Pin NBL0_Pin NBL1_Pin */
  GPIO_InitStruct.Pin = D4_Pin|D5_Pin|D6_Pin|D7_Pin
                          |D8_Pin|D9_Pin|D10_Pin|D11_Pin
                          |D12_Pin|NBL0_Pin|NBL1_Pin;
  GPIO_InitStruct.Mode = GPIO_MODE_AF_PP;
  GPIO_InitStruct.Pull = GPIO_NOPULL;
  GPIO_InitStruct.Speed = GPIO_SPEED_FREQ_VERY_HIGH;
  GPIO_InitStruct.Alternate = GPIO_AF12_FMC;
  HAL_GPIO_Init(GPIOE, &GPIO_InitStruct);

  /*Configure GPIO pins : G4_Pin G5_Pin B6_Pin B7_Pin */
  GPIO_InitStruct.Pin = G4_Pin|G5_Pin|B6_Pin|B7_Pin;
  GPIO_InitStruct.Mode = GPIO_MODE_AF_PP;
  GPIO_InitStruct.Pull = GPIO_NOPULL;
  GPIO_InitStruct.Speed = GPIO_SPEED_FREQ_LOW;
  GPIO_InitStruct.Alternate = GPIO_AF14_LTDC;
  HAL_GPIO_Init(GPIOB, &GPIO_InitStruct);

  /*Configure GPIO pins : OTG_HS_ID_Pin OTG_HS_DM_Pin OTG_HS_DP_Pin */
  GPIO_InitStruct.Pin = OTG_HS_ID_Pin|OTG_HS_DM_Pin|OTG_HS_DP_Pin;
  GPIO_InitStruct.Mode = GPIO_MODE_AF_PP;
  GPIO_InitStruct.Pull = GPIO_NOPULL;
  GPIO_InitStruct.Speed = GPIO_SPEED_FREQ_LOW;
  GPIO_InitStruct.Alternate = GPIO_AF12_OTG_HS_FS;
  HAL_GPIO_Init(GPIOB, &GPIO_InitStruct);

  /*Configure GPIO pin : VBUS_HS_Pin */
  GPIO_InitStruct.Pin = VBUS_HS_Pin;
  GPIO_InitStruct.Mode = GPIO_MODE_INPUT;
  GPIO_InitStruct.Pull = GPIO_NOPULL;
  HAL_GPIO_Init(VBUS_HS_GPIO_Port, &GPIO_InitStruct);

  /*Configure GPIO pins : D13_Pin D14_Pin D15_Pin D0_Pin
                           D1_Pin D2_Pin D3_Pin */
  GPIO_InitStruct.Pin = D13_Pin|D14_Pin|D15_Pin|D0_Pin
                          |D1_Pin|D2_Pin|D3_Pin;
  GPIO_InitStruct.Mode = GPIO_MODE_AF_PP;
  GPIO_InitStruct.Pull = GPIO_NOPULL;
  GPIO_InitStruct.Speed = GPIO_SPEED_FREQ_VERY_HIGH;
  GPIO_InitStruct.Alternate = GPIO_AF12_FMC;
  HAL_GPIO_Init(GPIOD, &GPIO_InitStruct);

  /*Configure GPIO pin : TE_Pin */
  GPIO_InitStruct.Pin = TE_Pin;
  GPIO_InitStruct.Mode = GPIO_MODE_INPUT;
  GPIO_InitStruct.Pull = GPIO_NOPULL;
  HAL_GPIO_Init(TE_GPIO_Port, &GPIO_InitStruct);

  /*Configure GPIO pins : RDX_Pin WRX_DCX_Pin */
  GPIO_InitStruct.Pin = RDX_Pin|WRX_DCX_Pin;
  GPIO_InitStruct.Mode = GPIO_MODE_OUTPUT_PP;
  GPIO_InitStruct.Pull = GPIO_NOPULL;
  GPIO_InitStruct.Speed = GPIO_SPEED_FREQ_LOW;
  HAL_GPIO_Init(GPIOD, &GPIO_InitStruct);

  /*Configure GPIO pins : R7_Pin DOTCLK_Pin B3_Pin */
  GPIO_InitStruct.Pin = R7_Pin|DOTCLK_Pin|B3_Pin;
  GPIO_InitStruct.Mode = GPIO_MODE_AF_PP;
  GPIO_InitStruct.Pull = GPIO_NOPULL;
  GPIO_InitStruct.Speed = GPIO_SPEED_FREQ_LOW;
  GPIO_InitStruct.Alternate = GPIO_AF14_LTDC;
  HAL_GPIO_Init(GPIOG, &GPIO_InitStruct);

  /*Configure GPIO pins : HSYNC_Pin G6_Pin R2_Pin */
  GPIO_InitStruct.Pin = HSYNC_Pin|G6_Pin|R2_Pin;
  GPIO_InitStruct.Mode = GPIO_MODE_AF_PP;
  GPIO_InitStruct.Pull = GPIO_NOPULL;
  GPIO_InitStruct.Speed = GPIO_SPEED_FREQ_LOW;
  GPIO_InitStruct.Alternate = GPIO_AF14_LTDC;
  HAL_GPIO_Init(GPIOC, &GPIO_InitStruct);

  /*Configure GPIO pins : STLINK_RX_Pin STLINK_TX_Pin */
  GPIO_InitStruct.Pin = STLINK_RX_Pin|STLINK_TX_Pin;
  GPIO_InitStruct.Mode = GPIO_MODE_AF_PP;
  GPIO_InitStruct.Pull = GPIO_NOPULL;
  GPIO_InitStruct.Speed = GPIO_SPEED_FREQ_VERY_HIGH;
  GPIO_InitStruct.Alternate = GPIO_AF7_USART1;
  HAL_GPIO_Init(GPIOA, &GPIO_InitStruct);

  /*Configure GPIO pins : G7_Pin B2_Pin */
  GPIO_InitStruct.Pin = G7_Pin|B2_Pin;
  GPIO_InitStruct.Mode = GPIO_MODE_AF_PP;
  GPIO_InitStruct.Pull = GPIO_NOPULL;
  GPIO_InitStruct.Speed = GPIO_SPEED_FREQ_LOW;
  GPIO_InitStruct.Alternate = GPIO_AF14_LTDC;
  HAL_GPIO_Init(GPIOD, &GPIO_InitStruct);

  /*Configure GPIO pins : G3_Pin B4_Pin */
  GPIO_InitStruct.Pin = G3_Pin|B4_Pin;
  GPIO_InitStruct.Mode = GPIO_MODE_AF_PP;
  GPIO_InitStruct.Pull = GPIO_NOPULL;
  GPIO_InitStruct.Speed = GPIO_SPEED_FREQ_LOW;
  GPIO_InitStruct.Alternate = GPIO_AF9_LTDC;
  HAL_GPIO_Init(GPIOG, &GPIO_InitStruct);

  /*Configure GPIO pins : LD3_Pin LD4_Pin */
  GPIO_InitStruct.Pin = LD3_Pin|LD4_Pin;
  GPIO_InitStruct.Mode = GPIO_MODE_OUTPUT_PP;
  GPIO_InitStruct.Pull = GPIO_NOPULL;
  GPIO_InitStruct.Speed = GPIO_SPEED_FREQ_LOW;
  HAL_GPIO_Init(GPIOG, &GPIO_InitStruct);

  /*Configure GPIO pins : SDCKE1_Pin SDNE1_Pin */
  GPIO_InitStruct.Pin = SDCKE1_Pin|SDNE1_Pin;
  GPIO_InitStruct.Mode = GPIO_MODE_AF_PP;
  GPIO_InitStruct.Pull = GPIO_NOPULL;
  GPIO_InitStruct.Speed = GPIO_SPEED_FREQ_VERY_HIGH;
  GPIO_InitStruct.Alternate = GPIO_AF12_FMC;
  HAL_GPIO_Init(GPIOB, &GPIO_InitStruct);

}

void Error_Handler(void)
{
  __disable_irq();
  while (1)
  {
  }
}
